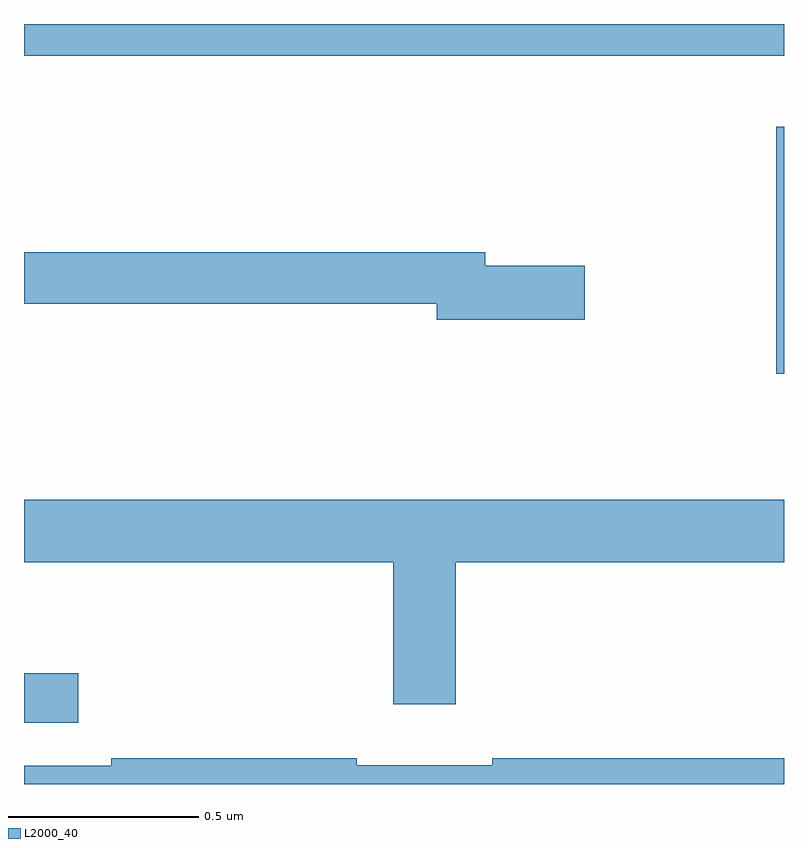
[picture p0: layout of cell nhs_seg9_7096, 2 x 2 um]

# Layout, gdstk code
import gdstk
lib = gdstk.Library(unit=1e-6, precision=1e-09)
def R(c, l, rs):  # rectangles x0, y0, x1, y1
    for r in rs: c.add(gdstk.rectangle(r[:2], r[2:], *l))
def P(c, l, *ps):  # polygons
    for p in ps: c.add(gdstk.Polygon(p, *l))
L2000_40 = (2000, 40)

nhs_seg9_7096 = lib.new_cell('nhs_seg9_7096')
R(nhs_seg9_7096, L2000_40, [(200,1198.661,200.143,1198.791), (201.98,1199.58,202,1200.229), (200,1200.416,202,1200.5)])
P(nhs_seg9_7096, L2000_40, [(201.475,1199.864),(201.214,1199.864),(201.214,1199.9),(200,1199.9),(200,1199.764),(201.086,1199.764),(201.086,1199.722),(201.475,1199.722)],
  [(200,1199.084),(200.972,1199.084),(200.972,1198.71),(201.136,1198.71),(201.136,1199.084),(202,1199.084),(202,1199.248),(200,1199.248)],
  [(202,1198.568),(201.232,1198.568),(201.232,1198.549),(200.876,1198.549),(200.876,1198.568),(200.23,1198.568),(200.23,1198.548),(200,1198.548),(200,1198.5),(202,1198.5)])

lib.write_gds('nhs_seg9_7096.gds')
